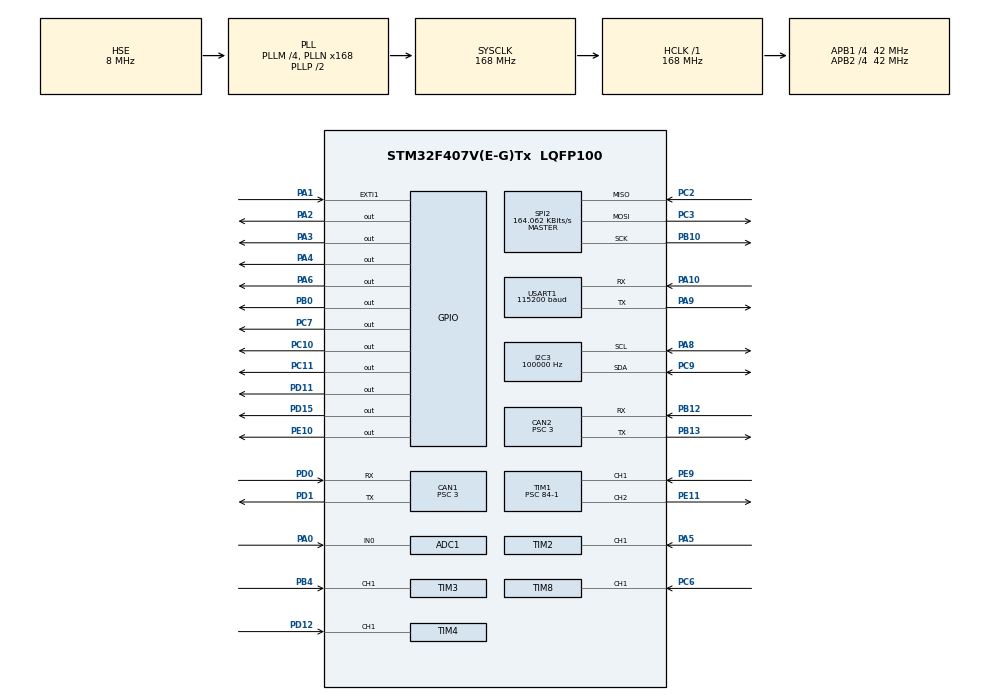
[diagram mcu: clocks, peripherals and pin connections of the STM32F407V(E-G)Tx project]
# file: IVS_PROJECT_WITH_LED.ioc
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ADC1.Channel-0\#ChannelRegularConversion=ADC_CHANNEL_0
ADC1.NbrOfConversionFlag=1
ADC1.Rank-0\#ChannelRegularConversion=1
ADC1.SamplingTime-0\#ChannelRegularConversion=ADC_SAMPLETIME_15CYCLES
ADC1.ScanConvMode=ENABLE
ADC1.master=1
CAN1.ABOM=ENABLE
CAN1.AWUM=ENABLE
CAN1.BS1=CAN_BS1_12TQ
CAN1.CalculateBaudRate=1000000
CAN1.CalculateTimeBit=1000
CAN1.CalculateTimeQuantum=71.42857142857143
CAN1.Mode=CAN_MODE_NORMAL
CAN1.NART=ENABLE
CAN1.Prescaler=3
CAN1.RFLM=DISABLE
CAN1.TTCM=DISABLE
CAN1.TXFP=DISABLE
CAN2.ABOM=ENABLE
CAN2.AWUM=ENABLE
CAN2.BS1=CAN_BS1_12TQ
CAN2.CalculateBaudRate=1000000
CAN2.CalculateTimeBit=1000
CAN2.CalculateTimeQuantum=71.42857142857143
CAN2.NART=ENABLE
CAN2.Prescaler=3
CAN2.TTCM=ENABLE
CAN2.TXFP=ENABLE
Dma.ADC1.0.Direction=DMA_PERIPH_TO_MEMORY
Dma.ADC1.0.FIFOMode=DMA_FIFOMODE_DISABLE
Dma.ADC1.0.Instance=DMA2_Stream0
Dma.ADC1.0.MemDataAlignment=DMA_MDATAALIGN_HALFWORD
Dma.ADC1.0.MemInc=DMA_MINC_ENABLE
Dma.ADC1.0.Mode=DMA_NORMAL
Dma.ADC1.0.PeriphDataAlignment=DMA_PDATAALIGN_HALFWORD
Dma.ADC1.0.PeriphInc=DMA_PINC_DISABLE
Dma.ADC1.0.Priority=DMA_PRIORITY_LOW
Dma.Request0=ADC1
I2C3.ClockSpeed=100000
I2C3.I2C_Mode=I2C_Fast
Mcu.Family=STM32F4
Mcu.Name=STM32F407V(E-G)Tx
Mcu.Package=LQFP100
NVIC.ADC_IRQn=true\:0\:0\:false\:false\:true\:true\:true\:true
NVIC.CAN1_RX0_IRQn=true\:0\:1\:false\:false\:true\:true\:true\:true
NVIC.CAN1_RX1_IRQn=true\:0\:0\:false\:false\:true\:true\:true\:true
NVIC.CAN1_SCE_IRQn=true\:0\:0\:false\:false\:true\:true\:true\:true
NVIC.CAN1_TX_IRQn=true\:0\:0\:false\:false\:true\:true\:true\:true
NVIC.CAN2_RX0_IRQn=true\:0\:1\:false\:false\:true\:true\:true\:true
NVIC.CAN2_RX1_IRQn=true\:0\:1\:false\:false\:true\:true\:true\:true
NVIC.CAN2_TX_IRQn=true\:0\:0\:false\:false\:true\:true\:true\:true
NVIC.DMA2_Stream0_IRQn=true\:0\:0\:false\:false\:true\:false\:true\:true
NVIC.I2C3_ER_IRQn=true\:1\:1\:true\:false\:true\:true\:true\:true
NVIC.I2C3_EV_IRQn=true\:1\:0\:true\:false\:true\:true\:true\:true
NVIC.PriorityGroup=NVIC_PRIORITYGROUP_2
NVIC.RCC_IRQn=true\:0\:0\:false\:false\:true\:true\:false\:true
NVIC.TIM1_BRK_TIM9_IRQn=true\:0\:0\:false\:false\:true\:true\:true\:true
NVIC.TIM1_CC_IRQn=true\:2\:0\:true\:false\:true\:true\:true\:true
NVIC.TIM1_TRG_COM_TIM11_IRQn=true\:0\:0\:false\:false\:true\:true\:true\:true
NVIC.TIM1_UP_TIM10_IRQn=true\:0\:0\:false\:false\:true\:true\:true\:true
NVIC.TIM2_IRQn=true\:2\:1\:true\:false\:true\:true\:true\:true
NVIC.TIM3_IRQn=true\:0\:0\:false\:false\:true\:true\:true\:true
NVIC.TIM4_IRQn=true\:2\:0\:true\:false\:true\:true\:true\:true
NVIC.TIM7_IRQn=true\:0\:0\:false\:false\:true\:true\:true\:true
NVIC.TIM8_BRK_TIM12_IRQn=true\:0\:0\:false\:false\:true\:true\:true\:true
NVIC.TIM8_CC_IRQn=true\:2\:1\:true\:false\:true\:true\:true\:true
NVIC.TIM8_TRG_COM_TIM14_IRQn=true\:0\:0\:false\:false\:true\:true\:true\:true
NVIC.TIM8_UP_TIM13_IRQn=true\:0\:0\:false\:false\:true\:true\:true\:true
NVIC.USART1_IRQn=true\:0\:0\:false\:false\:true\:true\:true\:true
PA0-WKUP.Signal=ADCx_IN0
PA1.Signal=GPXTI1
PA10.Mode=Asynchronous
PA10.Signal=USART1_RX
PA13.Mode=Serial_Wire
PA13.Signal=SYS_JTMS-SWDIO
PA14.Mode=Serial_Wire
PA14.Signal=SYS_JTCK-SWCLK
PA2.GPIO_PuPd=GPIO_PULLDOWN
PA2.PinState=GPIO_PIN_RESET
PA2.Signal=GPIO_Output
PA3.GPIO_PuPd=GPIO_PULLUP
PA3.PinState=GPIO_PIN_RESET
PA3.Signal=GPIO_Output
PA4.GPIO_PuPd=GPIO_PULLDOWN
PA4.Signal=GPIO_Output
PA5.Signal=S_TIM2_CH1_ETR
PA6.GPIO_PuPd=GPIO_PULLDOWN
PA6.Signal=GPIO_Output
PA8.GPIO_Pu=GPIO_PULLUP
PA8.Mode=I2C
PA8.Signal=I2C3_SCL
PA9.Mode=Asynchronous
PA9.Signal=USART1_TX
PB0.Signal=GPIO_Output
PB10.Mode=Full_Duplex_Master
PB10.Signal=SPI2_SCK
PB12.Mode=CAN_Activate
PB12.Signal=CAN2_RX
PB13.Mode=CAN_Activate
PB13.Signal=CAN2_TX
PB4.Signal=S_TIM3_CH1
PC10.Signal=GPIO_Output
PC11.Signal=GPIO_Output
PC2.Mode=Full_Duplex_Master
PC2.Signal=SPI2_MISO
PC3.Mode=Full_Duplex_Master
PC3.Signal=SPI2_MOSI
PC6.Signal=S_TIM8_CH1
PC7.Signal=GPIO_Output
PC9.GPIO_Pu=GPIO_PULLUP
PC9.Mode=I2C
PC9.Signal=I2C3_SDA
PD0.GPIO_PuPd=GPIO_PULLUP
PD0.Mode=CAN_Activate
PD0.Signal=CAN1_RX
PD1.Mode=CAN_Activate
PD1.Signal=CAN1_TX
PD11.GPIO_PuPd=GPIO_PULLDOWN
PD11.Signal=GPIO_Output
PD12.Signal=S_TIM4_CH1
PD15.GPIO_PuPd=GPIO_PULLDOWN
PD15.Signal=GPIO_Output
PE10.GPIO_PuPd=GPIO_PULLDOWN
PE10.Signal=GPIO_Output
PE11.Signal=S_TIM1_CH2
PE9.GPIO_PuPd=GPIO_NOPULL
PE9.Signal=S_TIM1_CH1
PH0-OSC_IN.Mode=HSE-External-Oscillator
PH0-OSC_IN.Signal=RCC_OSC_IN
PH1-OSC_OUT.Mode=HSE-External-Oscillator
PH1-OSC_OUT.Signal=RCC_OSC_OUT
ProjectManager.HeapSize=0x200
ProjectManager.StackSize=0x400
ProjectManager.TargetToolchain=STM32CubeIDE
RCC.48MHZClocksFreq_Value=84000000
RCC.AHBFreq_Value=168000000
RCC.APB1CLKDivider=RCC_HCLK_DIV4
RCC.APB1Freq_Value=42000000
RCC.APB1TimFreq_Value=84000000
RCC.APB2CLKDivider=RCC_HCLK_DIV4
RCC.APB2Freq_Value=42000000
RCC.APB2TimFreq_Value=84000000
RCC.CortexFreq_Value=168000000
RCC.HCLKFreq_Value=168000000
RCC.HSE_VALUE=8000000
RCC.HSI_VALUE=16000000
RCC.LSE_VALUE=32768
RCC.PLLM=4
RCC.PLLN=168
RCC.PLLSourceVirtual=RCC_PLLSOURCE_HSE
RCC.SYSCLKFreq_VALUE=168000000
RCC.SYSCLKSource=RCC_SYSCLKSOURCE_PLLCLK
RCC.VCOOutputFreq_Value=336000000
SH.ADCx_IN0.0=ADC1_IN0,IN0
SH.S_TIM1_CH1.0=TIM1_CH1,Input_Capture1_from_TI1
SH.S_TIM1_CH2.0=TIM1_CH2,PWM Generation2 CH2
SH.S_TIM2_CH1_ETR.0=TIM2_CH1,Input_Capture1_from_TI1
SH.S_TIM3_CH1.0=TIM3_CH1,Input_Capture1_from_TI1
SH.S_TIM4_CH1.0=TIM4_CH1,Input_Capture1_from_TI1
SH.S_TIM8_CH1.0=TIM8_CH1,Input_Capture1_from_TI1
SPI2.BaudRatePrescaler=SPI_BAUDRATEPRESCALER_256
SPI2.CalculateBaudRate=164.062 KBits/s
SPI2.Direction=SPI_DIRECTION_2LINES
SPI2.Mode=SPI_MODE_MASTER
SPI2.VirtualType=VM_MASTER
TIM1.Channel-Input_Capture1_from_TI1=TIM_CHANNEL_1
TIM1.Channel-PWM\ Generation2\ CH2=TIM_CHANNEL_2
TIM1.Period=65535-1
TIM1.Prescaler=84-1
TIM2.Channel-Input_Capture1_from_TI1=TIM_CHANNEL_1
TIM2.ICPolarity_CH1=TIM_INPUTCHANNELPOLARITY_FALLING
TIM2.Period=4294967295-1
TIM2.Prescaler=84-1
TIM3.Channel-Input_Capture1_from_TI1=TIM_CHANNEL_1
TIM3.Period=65535-1
TIM3.Prescaler=84-1
TIM4.Channel-Input_Capture1_from_TI1=TIM_CHANNEL_1
TIM4.Period=65535-1
TIM4.Prescaler=84-1
TIM6.Period=65535-1
TIM6.Prescaler=84-1
TIM7.AutoReloadPreload=TIM_AUTORELOAD_PRELOAD_ENABLE
TIM7.Period=999
TIM7.Prescaler=83
TIM8.Channel-Input_Capture1_from_TI1=TIM_CHANNEL_1
TIM8.Period=0xffff-1
TIM8.Prescaler=84-1
USART1.BaudRate=115200
USART1.VirtualMode=VM_ASYNC
VP_CRC_VS_CRC.Mode=CRC_Activate
VP_TIM1_VS_ClockSourceINT.Mode=Internal
VP_TIM2_VS_ClockSourceINT.Mode=Internal
VP_TIM3_VS_ClockSourceINT.Mode=Internal
VP_TIM4_VS_ClockSourceINT.Mode=Internal
VP_TIM6_VS_ClockSourceINT.Mode=Enable_Timer
VP_TIM7_VS_ClockSourceINT.Mode=Enable_Timer
VP_TIM8_VS_ClockSourceINT.Mode=Internal
board=custom

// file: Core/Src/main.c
/* USER CODE BEGIN Header */
/**
  ******************************************************************************
  * @file           : main.c
  * @brief          : Main program body
  ******************************************************************************
  * @attention
  *
  * Copyright (c) 2025 STMicroelectronics.
  * All rights reserved.
  *
  * This software is licensed under terms that can be found in the LICENSE file
  * in the root directory of this software component.
  * If no LICENSE file comes with this software, it is provided AS-IS.
  *
  ******************************************************************************
  */
/* USER CODE END Header */
#include "main.h"

/* USER CODE BEGIN Includes */
#include "RC522.h"
#include "string.h"
#include <stdio.h>
#include <stdbool.h>
#include "MQ135.h"
#include "liquidcrystal_i2c.h"
#include "BNO055_STM32.h"
#include "display.h"
#include "rfid.h"
#include "Debug.h"
#include "can_receive.h"
#include "ultrasonic_sensor.h"
#include "nvic_config.h"
#include "can_tranceive.h"
#include "led_control.h"
//#include "sensor_test.h"

/* USER CODE END Includes */

ADC_HandleTypeDef hadc1;
DMA_HandleTypeDef hdma_adc1;

CAN_HandleTypeDef hcan1;
CAN_HandleTypeDef hcan2;

CRC_HandleTypeDef hcrc;

I2C_HandleTypeDef hi2c3;

SPI_HandleTypeDef hspi2;

TIM_HandleTypeDef htim1;
TIM_HandleTypeDef htim2;
TIM_HandleTypeDef htim3;
TIM_HandleTypeDef htim4;
TIM_HandleTypeDef htim6;
TIM_HandleTypeDef htim7;
TIM_HandleTypeDef htim8;

UART_HandleTypeDef huart1;

/* USER CODE BEGIN PV */

CAN_FilterTypeDef canfilterconfig;

uint8_t status;
uint8_t	str[16];
uint8_t sNum[5];

/* USER CODE END PV */

void SystemClock_Config(void);
static void MX_GPIO_Init(void);
static void MX_DMA_Init(void);
static void MX_USART1_UART_Init(void);
static void MX_SPI2_Init(void);
static void MX_ADC1_Init(void);
static void MX_CAN1_Init(void);
static void MX_CRC_Init(void);
static void MX_TIM8_Init(void);
static void MX_CAN2_Init(void);
static void MX_I2C3_Init(void);
static void MX_TIM1_Init(void);
static void MX_TIM2_Init(void);
static void MX_TIM4_Init(void);
static void MX_TIM6_Init(void);
static void MX_TIM3_Init(void);
static void MX_TIM7_Init(void);

/* USER CODE BEGIN 0 */
#define UID_LEN 5
MQ135_HandleTypeDef mq135;

CAN_TxHeaderTypeDef TxHeader;
CAN_RxHeaderTypeDef RxHeader;
uint32_t TxMailbox; //hộp thư sẽ được gửi đến bus CAN
uint8_t txData[8] ;
uint8_t rxData[8];

int datacheck=0;
volatile uint8_t can_rx_flag = 0;
char uart_msg_buffer[64];

 uint32_t debug_timer = 0;
 uint32_t imu_timer = 0;

volatile uint32_t can_tx_count = 0;
volatile uint32_t can_rx_count = 0;
uint32_t last_tick_can_stat = 0;

volatile uint8_t timer10ms_flag = 0;

MQ135_HandleTypeDef mq135;
uint32_t ADC_SAMPLES[1000];
uint32_t NUM_SAMPLES = 0;
volatile uint8_t mq135_done = 0;

volatile uint32_t can1_tx_success = 0;   // số gói gửi thành công
volatile uint32_t can1_rx_success = 0;   // số gói nhận thành công

void HAL_TIM_PeriodElapsedCallback(TIM_HandleTypeDef *htim)
{
    if (htim->Instance == TIM7) {
        timer10ms_flag = 1;
    }
}
void HAL_ADC_ConvCpltCallback(ADC_HandleTypeDef *hadc) {
    static uint32_t idx = 0;
    ADC_SAMPLES[idx++] = HAL_ADC_GetValue(hadc);

    if (idx < NUM_SAMPLES) {
        HAL_ADC_Start_IT(hadc);
    } else {
        HAL_ADC_Stop_IT(hadc);
        mq135_done = 1;
        idx = 0;
    }
}

void HAL_CAN_TxMailbox0CompleteCallback(CAN_HandleTypeDef *hcan) {
    if (hcan->Instance == CAN1) {
        can1_tx_success++;
    }
}
void HAL_CAN_TxMailbox1CompleteCallback(CAN_HandleTypeDef *hcan) {
    if (hcan->Instance == CAN1) {
        can1_tx_success++;
    }
}
void HAL_CAN_TxMailbox2CompleteCallback(CAN_HandleTypeDef *hcan) {
    if (hcan->Instance == CAN1) {
        can1_tx_success++;
    }
}

static uint8_t can_recover_attempts = 0;

void HAL_CAN_ErrorCallback(CAN_HandleTypeDef *hcan) {
    uint32_t err = hcan->ErrorCode;

    if (err == HAL_CAN_ERROR_NONE) return;

    char msg[128];
    sprintf(msg, "⚠️ CAN Error: 0x%08lX\r\n", err);
    HAL_UART_Transmit(&huart1, (uint8_t*)msg, strlen(msg), HAL_MAX_DELAY);

    // --- Nhóm lỗi nghiêm trọng cần reset CAN ---
    if (err & (HAL_CAN_ERROR_BOF |
               HAL_CAN_ERROR_ACK |
               HAL_CAN_ERROR_TX_TERR0 | HAL_CAN_ERROR_TX_TERR1 | HAL_CAN_ERROR_TX_TERR2 |
               HAL_CAN_ERROR_RX_FOV0 | HAL_CAN_ERROR_RX_FOV1))
    {
        can_recover_attempts++;

        HAL_CAN_Stop(hcan);
        HAL_CAN_DeInit(hcan);
        HAL_CAN_Init(hcan);
        HAL_CAN_Start(hcan);

        HAL_CAN_ConfigFilter(hcan, &canfilterconfig);
        HAL_CAN_ActivateNotification(hcan,
            CAN_IT_ERROR_WARNING | CAN_IT_ERROR_PASSIVE |
            CAN_IT_BUSOFF | CAN_IT_LAST_ERROR_CODE | CAN_IT_ERROR);

        sprintf(msg, "🔄 CAN recovered, attempt %d\r\n", can_recover_attempts);
        HAL_UART_Transmit(&huart1, (uint8_t*)msg, strlen(msg), HAL_MAX_DELAY);

        if (can_recover_attempts >= 3) {
            char resetmsg[] = "❌ CAN stuck, resetting MCU...\r\n";
            HAL_UART_Transmit(&huart1, (uint8_t*)resetmsg, strlen(resetmsg), HAL_MAX_DELAY);
            NVIC_SystemReset();
        }
    }

    // --- Các lỗi nhẹ: chỉ log ---
    if (err & HAL_CAN_ERROR_EWG)  printf("CAN Warning Error\r\n");
    if (err & HAL_CAN_ERROR_EPV)  printf("CAN Passive Error\r\n");
    if (err & HAL_CAN_ERROR_STF)  printf("CAN Stuff Error\r\n");
    if (err & HAL_CAN_ERROR_FOR)  printf("CAN Form Error\r\n");
    if (err & HAL_CAN_ERROR_BR)   printf("CAN Bit Recessive Error\r\n");
    if (err & HAL_CAN_ERROR_BD)   printf("CAN Bit Dominant Error\r\n");
    if (err & HAL_CAN_ERROR_CRC)  printf("CAN CRC Error\r\n");

    // --- Timeout & init errors ---
    if (err & HAL_CAN_ERROR_TIMEOUT)        printf("CAN Timeout Error\r\n");
    if (err & HAL_CAN_ERROR_NOT_INITIALIZED)printf("CAN Not Init Error\r\n");
    if (err & HAL_CAN_ERROR_NOT_READY)      printf("CAN Not Ready Error\r\n");
    if (err & HAL_CAN_ERROR_NOT_STARTED)    printf("CAN Not Started Error\r\n");
    if (err & HAL_CAN_ERROR_PARAM)          printf("CAN Parameter Error\r\n");
}

/* USER CODE END 0 */

int main(void)
{

  /* MCU Configuration--------------------------------------------------------*/

  /* Reset of all peripherals, Initializes the Flash interface and the Systick. */
  HAL_Init();

  /* Configure the system clock */
  SystemClock_Config();

  /* Initialize all configured peripherals */
  MX_GPIO_Init();
  MX_DMA_Init();
  MX_USART1_UART_Init();
  MX_SPI2_Init();
  MX_ADC1_Init();
  MX_CAN1_Init();
  MX_CRC_Init();
  MX_TIM8_Init();
  MX_CAN2_Init();
  MX_I2C3_Init();
  MX_TIM1_Init();
  MX_TIM2_Init();
  MX_TIM4_Init();
  MX_TIM6_Init();
  MX_TIM3_Init();
  MX_TIM7_Init();
  /* USER CODE BEGIN 2 */
  MFRC522_Init();
  BNO055_Init();
  HD44780_Init(2);       // LCD 2 dòng
  HD44780_Backlight();   // Bật đèn nền
  MQ135_Config(&mq135, &hadc1);
  HAL_CAN_Start(&hcan1);
//  HAL_CAN_Start(&hcan2);
  CAN_DebugStatus();
  HAL_CAN_ConfigFilter(&hcan1, &canfilterconfig);
//  HAL_CAN_ConfigFilter(&hcan2, &canfilterconfig);
	    // Cấu hình và hiệu chuẩn MQ135
	    MQ135_Config(&mq135, &hadc1);
	    MQ135_CalibrateRo(&mq135, 25.0f, 50.0f);  // không khí sạch giả lập
// // Activate the notification
//  HAL_CAN_ActivateNotification(&hcan1, CAN_IT_RX_FIFO0_MSG_PENDING);
	    HAL_CAN_ActivateNotification(&hcan1,
	        CAN_IT_ERROR_WARNING |
	        CAN_IT_ERROR_PASSIVE |
	        CAN_IT_BUSOFF |
	        CAN_IT_LAST_ERROR_CODE |
	        CAN_IT_ERROR);
//  DisplayTopicMenuUART();
//  Send_All_SensorData_CAN();//  checkRFIDAndControlRelay();
	    HAL_TIM_Base_Start_IT(&htim7);
         HAL_GPIO_WritePin(GPIOA, GPIO_PIN_2, GPIO_PIN_RESET); // PA2 = 0 → Relay đỏ kích → NC ngắt → Đèn đỏ tắt
         HAL_GPIO_WritePin(GPIOA, GPIO_PIN_3, GPIO_PIN_SET);   // PA3 = 1 → Relay xanh không kích → Đèn xanh sáng
         Send_All_SensorData_CAN();
         Process_Ultrasonic_And_Control_Relay();

  /* USER CODE END 2 */

  /* Infinite loop */
  /* USER CODE BEGIN WHILE */
  while (1){
	  BNO055_CheckAndRecover();
//	  HandleUARTChoice();
	  	Send_All_SensorData_CAN();
	    Process_Ultrasonic_And_Control_Relay();
//
//		static uint32_t last_us_trigger_time=0 ;
//	    if (timer10ms_flag) {
//	        timer10ms_flag = 0;
//	        BNO055_SendEulerCAN();
//	    }
//        BNO055_SendEulerCAN();

//
//	  if (can_rx_flag) {
//	      can_rx_flag = 0;
//
//	      // Static lưu trạng thái trước đó
//	      static uint32_t last_id = 0xFFFFFFFF;
//	      static uint8_t last_data[8] = {0};
//	      static uint8_t last_dlc = 0;
//	      static uint8_t first_time = 1;
//
//	      // Sao lưu dữ liệu hiện tại để tránh bị ghi đè
//	      uint32_t curr_id = RxHeader.StdId;
//	      uint8_t curr_dlc = RxHeader.DLC;
//	      uint8_t curr_data[8];
//	      memcpy(curr_data, rxData, curr_dlc);
//
//	      if ((curr_id == 0x013 || curr_id == 0x020) &&
//	          (first_time ||
//	           curr_id != last_id ||
//	           curr_dlc != last_dlc ||
//	           memcmp(curr_data, last_data, curr_dlc) != 0)) {
//
//	          CAN_ReceiveAndPrint();
//
//	          // Cập nhật thông tin cho lần so sánh sau
//	          last_id = curr_id;
//	          last_dlc = curr_dlc;
//	          memcpy(last_data, curr_data, curr_dlc);
//	          first_time = 0;
//	      }
//	  }

//	        BNO055_SendEulerCAN();

	    if (HAL_GetTick() - last_tick_can_stat >= 1000) {
	           char msg[64];
	           snprintf(msg, sizeof(msg), "\r\nCAN TX/s: %lu | RX/s: %lu\r\n", can_tx_count, can_rx_count);
	           HAL_UART_Transmit(&huart1, (uint8_t*)msg, strlen(msg), HAL_MAX_DELAY);

	           can_tx_count = 0;
	           can_rx_count = 0;
	           last_tick_can_stat = HAL_GetTick();
	       }

    /* USER CODE END WHILE */

  }
}

void SystemClock_Config(void)
{
  RCC_OscInitTypeDef RCC_OscInitStruct = {0};
  RCC_ClkInitTypeDef RCC_ClkInitStruct = {0};

  /** Configure the main internal regulator output voltage
  */
  __HAL_RCC_PWR_CLK_ENABLE();
  __HAL_PWR_VOLTAGESCALING_CONFIG(PWR_REGULATOR_VOLTAGE_SCALE1);

  /** Initializes the RCC Oscillators according to the specified parameters
  * in the RCC_OscInitTypeDef structure.
  */
  RCC_OscInitStruct.OscillatorType = RCC_OSCILLATORTYPE_HSE;
  RCC_OscInitStruct.HSEState = RCC_HSE_ON;
  RCC_OscInitStruct.PLL.PLLState = RCC_PLL_ON;
  RCC_OscInitStruct.PLL.PLLSource = RCC_PLLSOURCE_HSE;
  RCC_OscInitStruct.PLL.PLLM = 4;
  RCC_OscInitStruct.PLL.PLLN = 168;
  RCC_OscInitStruct.PLL.PLLP = RCC_PLLP_DIV2;
  RCC_OscInitStruct.PLL.PLLQ = 4;
  if (HAL_RCC_OscConfig(&RCC_OscInitStruct) != HAL_OK)
  {
    Error_Handler();
  }

  /** Initializes the CPU, AHB and APB buses clocks
  */
  RCC_ClkInitStruct.ClockType = RCC_CLOCKTYPE_HCLK|RCC_CLOCKTYPE_SYSCLK
                              |RCC_CLOCKTYPE_PCLK1|RCC_CLOCKTYPE_PCLK2;
  RCC_ClkInitStruct.SYSCLKSource = RCC_SYSCLKSOURCE_PLLCLK;
  RCC_ClkInitStruct.AHBCLKDivider = RCC_SYSCLK_DIV1;
  RCC_ClkInitStruct.APB1CLKDivider = RCC_HCLK_DIV4;
  RCC_ClkInitStruct.APB2CLKDivider = RCC_HCLK_DIV4;

  if (HAL_RCC_ClockConfig(&RCC_ClkInitStruct, FLASH_LATENCY_5) != HAL_OK)
  {
    Error_Handler();
  }
}

static void MX_ADC1_Init(void)
{

  ADC_ChannelConfTypeDef sConfig = {0};

  /** Configure the global features of the ADC (Clock, Resolution, Data Alignment and number of conversion)
  */
  hadc1.Instance = ADC1;
  hadc1.Init.ClockPrescaler = ADC_CLOCK_SYNC_PCLK_DIV2;
  hadc1.Init.Resolution = ADC_RESOLUTION_12B;
  hadc1.Init.ScanConvMode = ENABLE;
  hadc1.Init.ContinuousConvMode = DISABLE;
  hadc1.Init.DiscontinuousConvMode = DISABLE;
  hadc1.Init.ExternalTrigConvEdge = ADC_EXTERNALTRIGCONVEDGE_NONE;
  hadc1.Init.ExternalTrigConv = ADC_SOFTWARE_START;
  hadc1.Init.DataAlign = ADC_DATAALIGN_RIGHT;
  hadc1.Init.NbrOfConversion = 1;
  hadc1.Init.DMAContinuousRequests = DISABLE;
  hadc1.Init.EOCSelection = ADC_EOC_SINGLE_CONV;
  if (HAL_ADC_Init(&hadc1) != HAL_OK)
  {
    Error_Handler();
  }

  /** Configure for the selected ADC regular channel its corresponding rank in the sequencer and its sample time.
  */
  sConfig.Channel = ADC_CHANNEL_0;
  sConfig.Rank = 1;
  sConfig.SamplingTime = ADC_SAMPLETIME_15CYCLES;
  if (HAL_ADC_ConfigChannel(&hadc1, &sConfig) != HAL_OK)
  {
    Error_Handler();
  }

}

static void MX_CAN1_Init(void)
{

  hcan1.Instance = CAN1;
  hcan1.Init.Prescaler = 3;
  hcan1.Init.Mode = CAN_MODE_NORMAL;
  hcan1.Init.SyncJumpWidth = CAN_SJW_1TQ;
  hcan1.Init.TimeSeg1 = CAN_BS1_12TQ;
  hcan1.Init.TimeSeg2 = CAN_BS2_1TQ;
  hcan1.Init.TimeTriggeredMode = DISABLE;
  hcan1.Init.AutoBusOff = ENABLE;
  hcan1.Init.AutoWakeUp = ENABLE;
  hcan1.Init.AutoRetransmission = ENABLE;
  hcan1.Init.ReceiveFifoLocked = DISABLE;
  hcan1.Init.TransmitFifoPriority = DISABLE;
  if (HAL_CAN_Init(&hcan1) != HAL_OK)
  {
    Error_Handler();
  }
  /* USER CODE BEGIN CAN1_Init 2 */

	canfilterconfig.FilterActivation = CAN_FILTER_ENABLE;
	canfilterconfig.FilterBank = 14;  // hoặc bank khác chưa dùng
	canfilterconfig.FilterFIFOAssignment = CAN_FILTER_FIFO0;
	canfilterconfig.FilterIdHigh = 0x0000;       // 0x100 << 5 = 0x0800
	canfilterconfig.FilterIdLow = 0x0000;            // Không cần dùng
	canfilterconfig.FilterMaskIdHigh = 0x0000;   // 0x7FF << 5 = 0xFFE0
	canfilterconfig.FilterMaskIdLow = 0x0000;
	canfilterconfig.FilterMode = CAN_FILTERMODE_IDMASK;
	canfilterconfig.FilterScale = CAN_FILTERSCALE_32BIT;
	canfilterconfig.SlaveStartFilterBank =0;
  /* USER CODE END CAN1_Init 2 */

}

static void MX_CAN2_Init(void)
{

  hcan2.Instance = CAN2;
  hcan2.Init.Prescaler = 3;
  hcan2.Init.Mode = CAN_MODE_NORMAL;
  hcan2.Init.SyncJumpWidth = CAN_SJW_1TQ;
  hcan2.Init.TimeSeg1 = CAN_BS1_12TQ;
  hcan2.Init.TimeSeg2 = CAN_BS2_1TQ;
  hcan2.Init.TimeTriggeredMode = ENABLE;
  hcan2.Init.AutoBusOff = ENABLE;
  hcan2.Init.AutoWakeUp = ENABLE;
  hcan2.Init.AutoRetransmission = ENABLE;
  hcan2.Init.ReceiveFifoLocked = DISABLE;
  hcan2.Init.TransmitFifoPriority = ENABLE;
  if (HAL_CAN_Init(&hcan2) != HAL_OK)
  {
    Error_Handler();
  }

}

static void MX_CRC_Init(void)
{

  hcrc.Instance = CRC;
  if (HAL_CRC_Init(&hcrc) != HAL_OK)
  {
    Error_Handler();
  }

}

static void MX_I2C3_Init(void)
{

  hi2c3.Instance = I2C3;
  hi2c3.Init.ClockSpeed = 100000;
  hi2c3.Init.DutyCycle = I2C_DUTYCYCLE_2;
  hi2c3.Init.OwnAddress1 = 0;
  hi2c3.Init.AddressingMode = I2C_ADDRESSINGMODE_7BIT;
  hi2c3.Init.DualAddressMode = I2C_DUALADDRESS_DISABLE;
  hi2c3.Init.OwnAddress2 = 0;
  hi2c3.Init.GeneralCallMode = I2C_GENERALCALL_DISABLE;
  hi2c3.Init.NoStretchMode = I2C_NOSTRETCH_DISABLE;
  if (HAL_I2C_Init(&hi2c3) != HAL_OK)
  {
    Error_Handler();
  }

}

static void MX_SPI2_Init(void)
{

  /* SPI2 parameter configuration*/
  hspi2.Instance = SPI2;
  hspi2.Init.Mode = SPI_MODE_MASTER;
  hspi2.Init.Direction = SPI_DIRECTION_2LINES;
  hspi2.Init.DataSize = SPI_DATASIZE_8BIT;
  hspi2.Init.CLKPolarity = SPI_POLARITY_LOW;
  hspi2.Init.CLKPhase = SPI_PHASE_1EDGE;
  hspi2.Init.NSS = SPI_NSS_SOFT;
  hspi2.Init.BaudRatePrescaler = SPI_BAUDRATEPRESCALER_256;
  hspi2.Init.FirstBit = SPI_FIRSTBIT_MSB;
  hspi2.Init.TIMode = SPI_TIMODE_DISABLE;
  hspi2.Init.CRCCalculation = SPI_CRCCALCULATION_DISABLE;
  hspi2.Init.CRCPolynomial = 10;
  if (HAL_SPI_Init(&hspi2) != HAL_OK)
  {
    Error_Handler();
  }

}

static void MX_TIM1_Init(void)
{

  TIM_ClockConfigTypeDef sClockSourceConfig = {0};
  TIM_MasterConfigTypeDef sMasterConfig = {0};
  TIM_IC_InitTypeDef sConfigIC = {0};
  TIM_OC_InitTypeDef sConfigOC = {0};
  TIM_BreakDeadTimeConfigTypeDef sBreakDeadTimeConfig = {0};

  htim1.Instance = TIM1;
  htim1.Init.Prescaler = 84-1;
  htim1.Init.CounterMode = TIM_COUNTERMODE_UP;
  htim1.Init.Period = 65535-1;
  htim1.Init.ClockDivision = TIM_CLOCKDIVISION_DIV1;
  htim1.Init.RepetitionCounter = 0;
  htim1.Init.AutoReloadPreload = TIM_AUTORELOAD_PRELOAD_DISABLE;
  if (HAL_TIM_Base_Init(&htim1) != HAL_OK)
  {
    Error_Handler();
  }
  sClockSourceConfig.ClockSource = TIM_CLOCKSOURCE_INTERNAL;
  if (HAL_TIM_ConfigClockSource(&htim1, &sClockSourceConfig) != HAL_OK)
  {
    Error_Handler();
  }
  if (HAL_TIM_IC_Init(&htim1) != HAL_OK)
  {
    Error_Handler();
  }
  if (HAL_TIM_PWM_Init(&htim1) != HAL_OK)
  {
    Error_Handler();
  }
  sMasterConfig.MasterOutputTrigger = TIM_TRGO_RESET;
  sMasterConfig.MasterSlaveMode = TIM_MASTERSLAVEMODE_DISABLE;
  if (HAL_TIMEx_MasterConfigSynchronization(&htim1, &sMasterConfig) != HAL_OK)
  {
    Error_Handler();
  }
  sConfigIC.ICPolarity = TIM_INPUTCHANNELPOLARITY_RISING;
  sConfigIC.ICSelection = TIM_ICSELECTION_DIRECTTI;
  sConfigIC.ICPrescaler = TIM_ICPSC_DIV1;
  sConfigIC.ICFilter = 0;
  if (HAL_TIM_IC_ConfigChannel(&htim1, &sConfigIC, TIM_CHANNEL_1) != HAL_OK)
  {
    Error_Handler();
  }
  sConfigOC.OCMode = TIM_OCMODE_PWM1;
  sConfigOC.Pulse = 0;
  sConfigOC.OCPolarity = TIM_OCPOLARITY_HIGH;
  sConfigOC.OCNPolarity = TIM_OCNPOLARITY_HIGH;
  sConfigOC.OCFastMode = TIM_OCFAST_DISABLE;
  sConfigOC.OCIdleState = TIM_OCIDLESTATE_RESET;
  sConfigOC.OCNIdleState = TIM_OCNIDLESTATE_RESET;
  if (HAL_TIM_PWM_ConfigChannel(&htim1, &sConfigOC, TIM_CHANNEL_2) != HAL_OK)
  {
    Error_Handler();
  }
  sBreakDeadTimeConfig.OffStateRunMode = TIM_OSSR_DISABLE;
  sBreakDeadTimeConfig.OffStateIDLEMode = TIM_OSSI_DISABLE;
  sBreakDeadTimeConfig.LockLevel = TIM_LOCKLEVEL_OFF;
  sBreakDeadTimeConfig.DeadTime = 0;
  sBreakDeadTimeConfig.BreakState = TIM_BREAK_DISABLE;
  sBreakDeadTimeConfig.BreakPolarity = TIM_BREAKPOLARITY_HIGH;
  sBreakDeadTimeConfig.AutomaticOutput = TIM_AUTOMATICOUTPUT_DISABLE;
  if (HAL_TIMEx_ConfigBreakDeadTime(&htim1, &sBreakDeadTimeConfig) != HAL_OK)
  {
    Error_Handler();
  }
  HAL_TIM_MspPostInit(&htim1);

}

static void MX_TIM2_Init(void)
{

  TIM_ClockConfigTypeDef sClockSourceConfig = {0};
  TIM_MasterConfigTypeDef sMasterConfig = {0};
  TIM_IC_InitTypeDef sConfigIC = {0};

  htim2.Instance = TIM2;
  htim2.Init.Prescaler = 84-1;
  htim2.Init.CounterMode = TIM_COUNTERMODE_UP;
  htim2.Init.Period = 4294967295-1;
  htim2.Init.ClockDivision = TIM_CLOCKDIVISION_DIV1;
  htim2.Init.AutoReloadPreload = TIM_AUTORELOAD_PRELOAD_DISABLE;
  if (HAL_TIM_Base_Init(&htim2) != HAL_OK)
  {
    Error_Handler();
  }
  sClockSourceConfig.ClockSource = TIM_CLOCKSOURCE_INTERNAL;
  if (HAL_TIM_ConfigClockSource(&htim2, &sClockSourceConfig) != HAL_OK)
  {
    Error_Handler();
  }
  if (HAL_TIM_IC_Init(&htim2) != HAL_OK)
  {
    Error_Handler();
  }
  sMasterConfig.MasterOutputTrigger = TIM_TRGO_RESET;
  sMasterConfig.MasterSlaveMode = TIM_MASTERSLAVEMODE_DISABLE;
  if (HAL_TIMEx_MasterConfigSynchronization(&htim2, &sMasterConfig) != HAL_OK)
  {
    Error_Handler();
  }
  sConfigIC.ICPolarity = TIM_INPUTCHANNELPOLARITY_FALLING;
  sConfigIC.ICSelection = TIM_ICSELECTION_DIRECTTI;
  sConfigIC.ICPrescaler = TIM_ICPSC_DIV1;
  sConfigIC.ICFilter = 0;
  if (HAL_TIM_IC_ConfigChannel(&htim2, &sConfigIC, TIM_CHANNEL_1) != HAL_OK)
  {
    Error_Handler();
  }

}

static void MX_TIM3_Init(void)
{

  TIM_ClockConfigTypeDef sClockSourceConfig = {0};
  TIM_MasterConfigTypeDef sMasterConfig = {0};
  TIM_IC_InitTypeDef sConfigIC = {0};

  htim3.Instance = TIM3;
  htim3.Init.Prescaler = 84-1;
  htim3.Init.CounterMode = TIM_COUNTERMODE_UP;
  htim3.Init.Period = 65535-1;
  htim3.Init.ClockDivision = TIM_CLOCKDIVISION_DIV1;
  htim3.Init.AutoReloadPreload = TIM_AUTORELOAD_PRELOAD_DISABLE;
  if (HAL_TIM_Base_Init(&htim3) != HAL_OK)
  {
    Error_Handler();
  }
  sClockSourceConfig.ClockSource = TIM_CLOCKSOURCE_INTERNAL;
  if (HAL_TIM_ConfigClockSource(&htim3, &sClockSourceConfig) != HAL_OK)
  {
    Error_Handler();
  }
  if (HAL_TIM_IC_Init(&htim3) != HAL_OK)
  {
    Error_Handler();
  }
  sMasterConfig.MasterOutputTrigger = TIM_TRGO_RESET;
  sMasterConfig.MasterSlaveMode = TIM_MASTERSLAVEMODE_DISABLE;
  if (HAL_TIMEx_MasterConfigSynchronization(&htim3, &sMasterConfig) != HAL_OK)
  {
    Error_Handler();
  }
  sConfigIC.ICPolarity = TIM_INPUTCHANNELPOLARITY_RISING;
  sConfigIC.ICSelection = TIM_ICSELECTION_DIRECTTI;
  sConfigIC.ICPrescaler = TIM_ICPSC_DIV1;
  sConfigIC.ICFilter = 0;
  if (HAL_TIM_IC_ConfigChannel(&htim3, &sConfigIC, TIM_CHANNEL_1) != HAL_OK)
  {
    Error_Handler();
  }

}

static void MX_TIM4_Init(void)
{

  TIM_ClockConfigTypeDef sClockSourceConfig = {0};
  TIM_MasterConfigTypeDef sMasterConfig = {0};
  TIM_IC_InitTypeDef sConfigIC = {0};

  htim4.Instance = TIM4;
  htim4.Init.Prescaler = 84-1;
  htim4.Init.CounterMode = TIM_COUNTERMODE_UP;
  htim4.Init.Period = 65535-1;
  htim4.Init.ClockDivision = TIM_CLOCKDIVISION_DIV1;
  htim4.Init.AutoReloadPreload = TIM_AUTORELOAD_PRELOAD_DISABLE;
  if (HAL_TIM_Base_Init(&htim4) != HAL_OK)
  {
    Error_Handler();
  }
  sClockSourceConfig.ClockSource = TIM_CLOCKSOURCE_INTERNAL;
  if (HAL_TIM_ConfigClockSource(&htim4, &sClockSourceConfig) != HAL_OK)
  {
    Error_Handler();
  }
  if (HAL_TIM_IC_Init(&htim4) != HAL_OK)
  {
    Error_Handler();
  }
  sMasterConfig.MasterOutputTrigger = TIM_TRGO_RESET;
  sMasterConfig.MasterSlaveMode = TIM_MASTERSLAVEMODE_DISABLE;
  if (HAL_TIMEx_MasterConfigSynchronization(&htim4, &sMasterConfig) != HAL_OK)
  {
    Error_Handler();
  }
  sConfigIC.ICPolarity = TIM_INPUTCHANNELPOLARITY_RISING;
  sConfigIC.ICSelection = TIM_ICSELECTION_DIRECTTI;
  sConfigIC.ICPrescaler = TIM_ICPSC_DIV1;
  sConfigIC.ICFilter = 0;
  if (HAL_TIM_IC_ConfigChannel(&htim4, &sConfigIC, TIM_CHANNEL_1) != HAL_OK)
  {
    Error_Handler();
  }

}

static void MX_TIM6_Init(void)
{

  TIM_MasterConfigTypeDef sMasterConfig = {0};

  htim6.Instance = TIM6;
  htim6.Init.Prescaler = 84-1;
  htim6.Init.CounterMode = TIM_COUNTERMODE_UP;
  htim6.Init.Period = 65535-1;
  htim6.Init.AutoReloadPreload = TIM_AUTORELOAD_PRELOAD_DISABLE;
  if (HAL_TIM_Base_Init(&htim6) != HAL_OK)
  {
    Error_Handler();
  }
  sMasterConfig.MasterOutputTrigger = TIM_TRGO_RESET;
  sMasterConfig.MasterSlaveMode = TIM_MASTERSLAVEMODE_DISABLE;
  if (HAL_TIMEx_MasterConfigSynchronization(&htim6, &sMasterConfig) != HAL_OK)
  {
    Error_Handler();
  }

}

static void MX_TIM7_Init(void)
{

  TIM_MasterConfigTypeDef sMasterConfig = {0};

  htim7.Instance = TIM7;
  htim7.Init.Prescaler = 83;
  htim7.Init.CounterMode = TIM_COUNTERMODE_UP;
  htim7.Init.Period = 999;
  htim7.Init.AutoReloadPreload = TIM_AUTORELOAD_PRELOAD_ENABLE;
  if (HAL_TIM_Base_Init(&htim7) != HAL_OK)
  {
    Error_Handler();
  }
  sMasterConfig.MasterOutputTrigger = TIM_TRGO_RESET;
  sMasterConfig.MasterSlaveMode = TIM_MASTERSLAVEMODE_DISABLE;
  if (HAL_TIMEx_MasterConfigSynchronization(&htim7, &sMasterConfig) != HAL_OK)
  {
    Error_Handler();
  }

}

static void MX_TIM8_Init(void)
{

  TIM_ClockConfigTypeDef sClockSourceConfig = {0};
  TIM_MasterConfigTypeDef sMasterConfig = {0};
  TIM_IC_InitTypeDef sConfigIC = {0};

  htim8.Instance = TIM8;
  htim8.Init.Prescaler = 84-1;
  htim8.Init.CounterMode = TIM_COUNTERMODE_UP;
  htim8.Init.Period = 0xffff-1;
  htim8.Init.ClockDivision = TIM_CLOCKDIVISION_DIV1;
  htim8.Init.RepetitionCounter = 0;
  htim8.Init.AutoReloadPreload = TIM_AUTORELOAD_PRELOAD_DISABLE;
  if (HAL_TIM_Base_Init(&htim8) != HAL_OK)
  {
    Error_Handler();
  }
  sClockSourceConfig.ClockSource = TIM_CLOCKSOURCE_INTERNAL;
  if (HAL_TIM_ConfigClockSource(&htim8, &sClockSourceConfig) != HAL_OK)
  {
    Error_Handler();
  }
  if (HAL_TIM_IC_Init(&htim8) != HAL_OK)
  {
    Error_Handler();
  }
  sMasterConfig.MasterOutputTrigger = TIM_TRGO_RESET;
  sMasterConfig.MasterSlaveMode = TIM_MASTERSLAVEMODE_DISABLE;
  if (HAL_TIMEx_MasterConfigSynchronization(&htim8, &sMasterConfig) != HAL_OK)
  {
    Error_Handler();
  }
  sConfigIC.ICPolarity = TIM_INPUTCHANNELPOLARITY_RISING;
  sConfigIC.ICSelection = TIM_ICSELECTION_DIRECTTI;
  sConfigIC.ICPrescaler = TIM_ICPSC_DIV1;
  sConfigIC.ICFilter = 0;
  if (HAL_TIM_IC_ConfigChannel(&htim8, &sConfigIC, TIM_CHANNEL_1) != HAL_OK)
  {
    Error_Handler();
  }

}

static void MX_USART1_UART_Init(void)
{

  huart1.Instance = USART1;
  huart1.Init.BaudRate = 115200;
  huart1.Init.WordLength = UART_WORDLENGTH_8B;
  huart1.Init.StopBits = UART_STOPBITS_1;
  huart1.Init.Parity = UART_PARITY_NONE;
  huart1.Init.Mode = UART_MODE_TX_RX;
  huart1.Init.HwFlowCtl = UART_HWCONTROL_NONE;
  huart1.Init.OverSampling = UART_OVERSAMPLING_16;
  if (HAL_UART_Init(&huart1) != HAL_OK)
  {
    Error_Handler();
  }

}

static void MX_DMA_Init(void)
{

  /* DMA controller clock enable */
  __HAL_RCC_DMA2_CLK_ENABLE();

  /* DMA interrupt init */
  /* DMA2_Stream0_IRQn interrupt configuration */
  HAL_NVIC_SetPriority(DMA2_Stream0_IRQn, 0, 0);
  HAL_NVIC_EnableIRQ(DMA2_Stream0_IRQn);

}

static void MX_GPIO_Init(void)
{
  GPIO_InitTypeDef GPIO_InitStruct = {0};

  /* GPIO Ports Clock Enable */
  __HAL_RCC_GPIOH_CLK_ENABLE();
  __HAL_RCC_GPIOC_CLK_ENABLE();
  __HAL_RCC_GPIOA_CLK_ENABLE();
  __HAL_RCC_GPIOB_CLK_ENABLE();
  __HAL_RCC_GPIOE_CLK_ENABLE();
  __HAL_RCC_GPIOD_CLK_ENABLE();

  /*Configure GPIO pin Output Level */
  HAL_GPIO_WritePin(GPIOA, GPIO_PIN_2|GPIO_PIN_3|GPIO_PIN_4|GPIO_PIN_6, GPIO_PIN_RESET);

  /*Configure GPIO pin Output Level */
  HAL_GPIO_WritePin(GPIOB, GPIO_PIN_0, GPIO_PIN_RESET);

  /*Configure GPIO pin Output Level */
  HAL_GPIO_WritePin(GPIOE, GPIO_PIN_10, GPIO_PIN_RESET);

  /*Configure GPIO pin Output Level */
  HAL_GPIO_WritePin(GPIOD, GPIO_PIN_11|GPIO_PIN_15, GPIO_PIN_RESET);

  /*Configure GPIO pin Output Level */
  HAL_GPIO_WritePin(GPIOC, GPIO_PIN_7|GPIO_PIN_10|GPIO_PIN_11, GPIO_PIN_RESET);

  /*Configure GPIO pin : PA1 */
  GPIO_InitStruct.Pin = GPIO_PIN_1;
  GPIO_InitStruct.Mode = GPIO_MODE_IT_RISING;
  GPIO_InitStruct.Pull = GPIO_NOPULL;
  HAL_GPIO_Init(GPIOA, &GPIO_InitStruct);

  /*Configure GPIO pins : PA2 PA4 PA6 */
  GPIO_InitStruct.Pin = GPIO_PIN_2|GPIO_PIN_4|GPIO_PIN_6;
  GPIO_InitStruct.Mode = GPIO_MODE_OUTPUT_PP;
  GPIO_InitStruct.Pull = GPIO_PULLDOWN;
  GPIO_InitStruct.Speed = GPIO_SPEED_FREQ_LOW;
  HAL_GPIO_Init(GPIOA, &GPIO_InitStruct);

  /*Configure GPIO pin : PA3 */
  GPIO_InitStruct.Pin = GPIO_PIN_3;
  GPIO_InitStruct.Mode = GPIO_MODE_OUTPUT_PP;
  GPIO_InitStruct.Pull = GPIO_PULLUP;
  GPIO_InitStruct.Speed = GPIO_SPEED_FREQ_LOW;
  HAL_GPIO_Init(GPIOA, &GPIO_InitStruct);

  /*Configure GPIO pin : PB0 */
  GPIO_InitStruct.Pin = GPIO_PIN_0;
  GPIO_InitStruct.Mode = GPIO_MODE_OUTPUT_PP;
  GPIO_InitStruct.Pull = GPIO_NOPULL;
  GPIO_InitStruct.Speed = GPIO_SPEED_FREQ_LOW;
  HAL_GPIO_Init(GPIOB, &GPIO_InitStruct);

  /*Configure GPIO pin : PE10 */
  GPIO_InitStruct.Pin = GPIO_PIN_10;
  GPIO_InitStruct.Mode = GPIO_MODE_OUTPUT_PP;
  GPIO_InitStruct.Pull = GPIO_PULLDOWN;
  GPIO_InitStruct.Speed = GPIO_SPEED_FREQ_LOW;
  HAL_GPIO_Init(GPIOE, &GPIO_InitStruct);

  /*Configure GPIO pins : PD11 PD15 */
  GPIO_InitStruct.Pin = GPIO_PIN_11|GPIO_PIN_15;
  GPIO_InitStruct.Mode = GPIO_MODE_OUTPUT_PP;
  GPIO_InitStruct.Pull = GPIO_PULLDOWN;
  GPIO_InitStruct.Speed = GPIO_SPEED_FREQ_LOW;
  HAL_GPIO_Init(GPIOD, &GPIO_InitStruct);

  /*Configure GPIO pins : PC7 PC10 PC11 */
  GPIO_InitStruct.Pin = GPIO_PIN_7|GPIO_PIN_10|GPIO_PIN_11;
  GPIO_InitStruct.Mode = GPIO_MODE_OUTPUT_PP;
  GPIO_InitStruct.Pull = GPIO_NOPULL;
  GPIO_InitStruct.Speed = GPIO_SPEED_FREQ_LOW;
  HAL_GPIO_Init(GPIOC, &GPIO_InitStruct);

}

void Error_Handler(void)
{
  __disable_irq();
  while (1)
  {
  }
}
